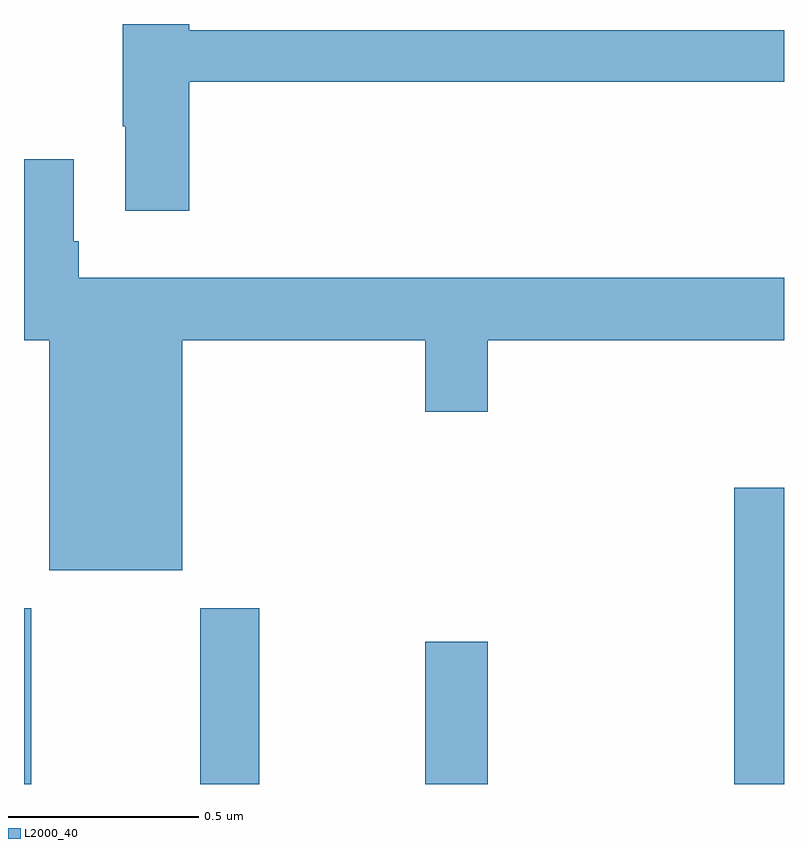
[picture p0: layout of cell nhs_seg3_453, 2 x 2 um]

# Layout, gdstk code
import gdstk
lib = gdstk.Library(unit=1e-6, precision=1e-09)
def R(c, l, rs):  # rectangles x0, y0, x1, y1
    for r in rs: c.add(gdstk.rectangle(r[:2], r[2:], *l))
def P(c, l, *ps):  # polygons
    for p in ps: c.add(gdstk.Polygon(p, *l))
L2000_40 = (2000, 40)

nhs_seg3_453 = lib.new_cell('nhs_seg3_453')
R(nhs_seg3_453, L2000_40, [(116,714.4,116.019,714.862), (116.464,714.4,116.619,714.862), (117.056,714.4,117.22,714.775), (117.869,714.4,118,715.18)])
P(nhs_seg3_453, L2000_40, [(116.435,716.248),(118,716.248),(118,716.384),(116.435,716.384),(116.435,716.4),(116.26,716.4),(116.26,716.131),(116.267,716.131),(116.267,715.908),(116.435,715.908)],
  [(116.416,715.568),(117.056,715.568),(117.056,715.38),(117.22,715.38),(117.22,715.568),(118,715.568),(118,715.732),(116.144,715.732),(116.144,715.828),(116.131,715.828),(116.131,716.044),(116,716.044),(116,715.568),(116.066,715.568),(116.066,714.962),(116.416,714.962)])

lib.write_gds('nhs_seg3_453.gds')
